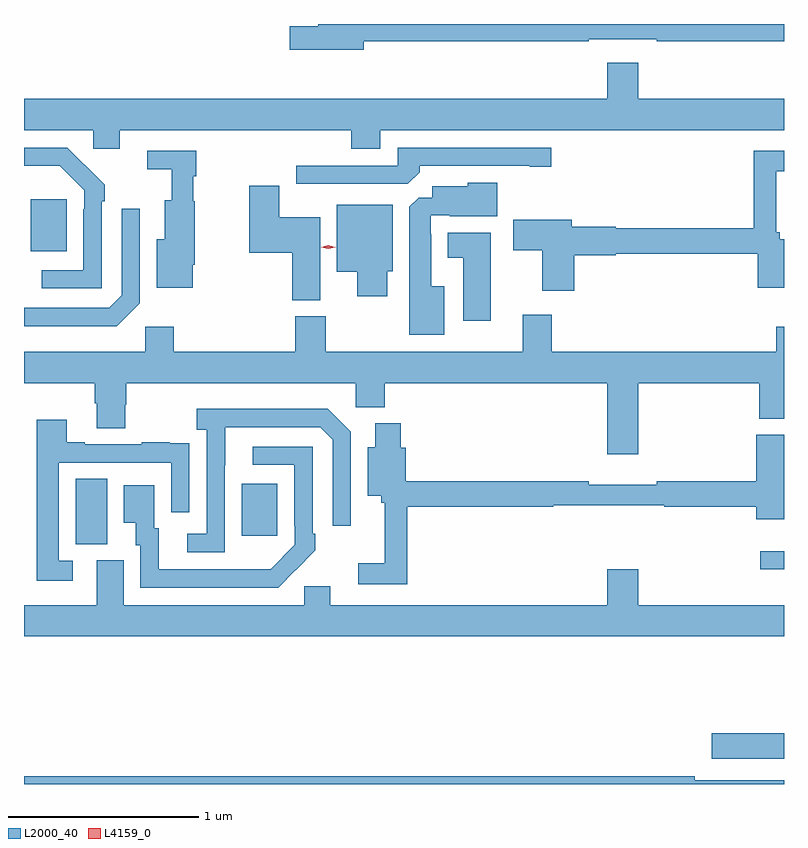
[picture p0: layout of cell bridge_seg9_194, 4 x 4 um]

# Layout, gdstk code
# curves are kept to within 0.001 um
import gdstk
lib = gdstk.Library(unit=1e-6, precision=1e-09)
def R(c, l, rs):  # rectangles x0, y0, x1, y1
    for r in rs: c.add(gdstk.rectangle(r[:2], r[2:], *l))
def P(c, l, *ps):  # polygons
    for p in ps: c.add(gdstk.Polygon(p, *l))
L2000_40 = (2000, 40)
L4159_0 = (4159, 0)

bridge_seg9_194 = lib.new_cell('bridge_seg9_194')
R(bridge_seg9_194, L2000_40, [(177.546,1210.427,177.927,1210.562), (177.801,1211.424,177.927,1211.52), (174.2,1211.557,174.364,1211.9), (175.073,1211.601,175.261,1211.875), (173.963,1213.097,174.151,1213.372)])
P(bridge_seg9_194, L2000_40, [(175.714,1214.202),(176.9,1214.202),(176.9,1214.214),(177.256,1214.214),(177.256,1214.202),(177.927,1214.202),(177.927,1214.294),(175.475,1214.294),(175.475,1214.281),(175.326,1214.281),(175.326,1214.159),(175.714,1214.159)],
  [(173.927,1213.736),(174.291,1213.736),(174.291,1213.638),(174.43,1213.638),(174.43,1213.736),(175.649,1213.736),(175.649,1213.637),(175.801,1213.637),(175.801,1213.736),(177.927,1213.736),(177.927,1213.9),(177.16,1213.9),(177.16,1214.089),(176.996,1214.089),(176.996,1213.9),(173.927,1213.9)],
  [(176.009,1213.514),(176.009,1213.548),(176.588,1213.548),(176.588,1213.543),(176.701,1213.543),(176.701,1213.644),(175.893,1213.644),(175.893,1213.548),(175.359,1213.548),(175.359,1213.452),(175.947,1213.452)],
  [(174.336,1213.361),(174.351,1213.361),(174.351,1213.449),(174.154,1213.644),(173.927,1213.644),(173.927,1213.548),(174.115,1213.548),(174.243,1213.419),(174.243,1213.319),(174.24,1213.319),(174.24,1212.999),(174.021,1212.999),(174.021,1212.903),(174.336,1212.903)],
  [(174.814,1213.026),(174.826,1213.026),(174.826,1213.362),(174.818,1213.362),(174.818,1213.493),(174.833,1213.493),(174.833,1213.626),(174.576,1213.626),(174.576,1213.529),(174.705,1213.529),(174.705,1213.366),(174.668,1213.366),(174.668,1213.162),(174.626,1213.162),(174.626,1212.905),(174.814,1212.905)],
  [(176.822,1213.076),(177.042,1213.076),(177.042,1213.084),(177.788,1213.084),(177.788,1212.905),(177.927,1212.905),(177.927,1213.162),(177.904,1213.162),(177.904,1213.197),(177.887,1213.197),(177.887,1213.518),(177.927,1213.518),(177.927,1213.626),(177.769,1213.626),(177.769,1213.22),(177.042,1213.22),(177.042,1213.228),(176.809,1213.228),(176.809,1213.264),(176.502,1213.264),(176.502,1213.102),(176.654,1213.102),(176.654,1212.891),(176.822,1212.891)],
  [(176.14,1212.913),(176.071,1212.913),(176.071,1213.187),(176.067,1213.187),(176.067,1213.287),(176.167,1213.287),(176.167,1213.283),(176.419,1213.283),(176.419,1213.459),(176.262,1213.459),(176.262,1213.441),(176.075,1213.441),(176.075,1213.38),(176.004,1213.38),(175.955,1213.331),(175.955,1212.659),(176.14,1212.659)],
  [(175.486,1213.276),(175.27,1213.276),(175.27,1213.444),(175.112,1213.444),(175.112,1213.091),(175.34,1213.091),(175.34,1212.841),(175.486,1212.841)],
  [(175.84,1212.993),(175.867,1212.993),(175.867,1213.342),(175.574,1213.342),(175.574,1212.989),(175.682,1212.989),(175.682,1212.861),(175.84,1212.861)],
  [(174.537,1212.825),(174.537,1213.321),(174.441,1213.321),(174.441,1212.867),(174.375,1212.801),(173.927,1212.801),(173.927,1212.704),(174.416,1212.704)],
  [(176.383,1213.195),(176.156,1213.195),(176.156,1213.064),(176.24,1213.064),(176.24,1212.732),(176.383,1212.732)],
  [(176.996,1212.03),(177.16,1212.03),(177.16,1212.404),(177.797,1212.404),(177.797,1212.217),(177.927,1212.217),(177.927,1212.7),(177.887,1212.7),(177.887,1212.568),(176.705,1212.568),(176.705,1212.763),(176.552,1212.763),(176.552,1212.568),(175.515,1212.568),(175.515,1212.756),(175.355,1212.756),(175.355,1212.568),(174.716,1212.568),(174.716,1212.7),(174.564,1212.7),(174.564,1212.568),(173.927,1212.568),(173.927,1212.404),(174.299,1212.404),(174.299,1212.298),(174.311,1212.298),(174.311,1212.166),(174.459,1212.166),(174.459,1212.291),(174.464,1212.291),(174.464,1212.404),(175.674,1212.404),(175.674,1212.278),(175.826,1212.278),(175.826,1212.404),(176.996,1212.404)],
  [(174.984,1211.971),(174.985,1212.171),(175.485,1212.171),(175.551,1212.105),(175.551,1211.652),(175.647,1211.652),(175.647,1212.147),(175.526,1212.268),(174.837,1212.268),(174.837,1212.158),(174.888,1212.158),(174.888,1211.61),(174.786,1211.61),(174.786,1211.514),(174.984,1211.514)],
  [(174.184,1211.469),(174.111,1211.469),(174.111,1211.985),(174.702,1211.985),(174.702,1211.724),(174.798,1211.724),(174.798,1211.978),(174.797,1211.978),(174.797,1212.087),(174.695,1212.087),(174.695,1212.094),(174.547,1212.094),(174.547,1212.081),(174.247,1212.081),(174.247,1212.094),(174.151,1212.094),(174.151,1212.211),(173.995,1212.211),(173.995,1211.364),(174.184,1211.364)],
  [(175.943,1211.752),(176.713,1211.752),(176.713,1211.76),(177.298,1211.76),(177.298,1211.752),(177.782,1211.752),(177.782,1211.688),(177.927,1211.688),(177.927,1212.132),(177.782,1212.132),(177.782,1211.888),(177.256,1211.888),(177.256,1211.869),(176.9,1211.869),(176.9,1211.888),(175.937,1211.888),(175.937,1212.063),(175.91,1212.063),(175.91,1212.193),(175.775,1212.193),(175.775,1212.067),(175.736,1212.067),(175.736,1211.81),(175.808,1211.81),(175.808,1211.775),(175.826,1211.775),(175.826,1211.455),(175.686,1211.455),(175.686,1211.346),(175.943,1211.346)],
  [(175.355,1211.419),(175.356,1211.418),(175.461,1211.523),(175.461,1211.611),(175.446,1211.611),(175.446,1212.069),(175.131,1212.069),(175.131,1211.973),(175.35,1211.973),(175.35,1211.653),(175.353,1211.653),(175.353,1211.553),(175.225,1211.425),(174.637,1211.424),(174.637,1211.64),(174.613,1211.64),(174.613,1211.866),(174.452,1211.866),(174.452,1211.669),(174.515,1211.669),(174.515,1211.55),(174.54,1211.55),(174.54,1211.328),(175.264,1211.328)],
  [(177.927,1211.236),(177.16,1211.236),(177.16,1211.425),(176.996,1211.425),(176.996,1211.236),(175.54,1211.236),(175.54,1211.334),(175.401,1211.334),(175.401,1211.236),(174.451,1211.236),(174.451,1211.472),(174.311,1211.472),(174.311,1211.236),(173.927,1211.236),(173.927,1211.072),(177.927,1211.072)],
  [(177.927,1210.314),(177.458,1210.314),(177.458,1210.334),(173.927,1210.334),(173.927,1210.294),(177.927,1210.294)])
P(bridge_seg9_194, L4159_0, [(175.529,1213.11),(175.491,1213.119),(175.491,1213.119),(175.491,1213.12),(175.529,1213.129),(175.566,1213.12),(175.567,1213.119),(175.566,1213.119)])

lib.write_gds('bridge_seg9_194.gds')
